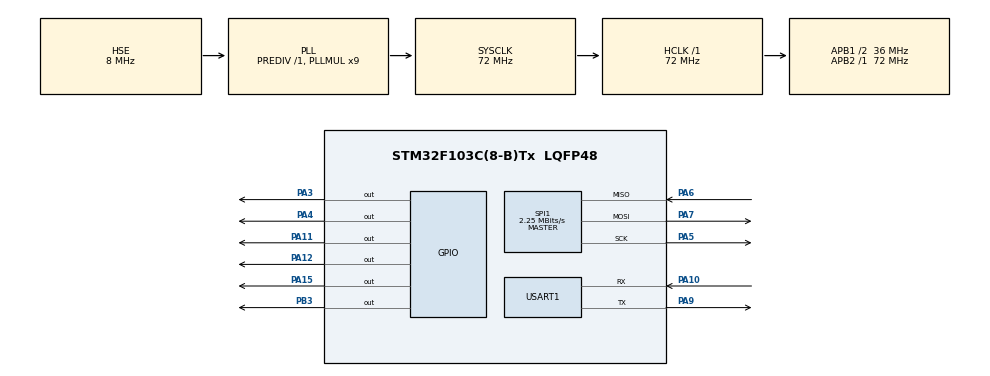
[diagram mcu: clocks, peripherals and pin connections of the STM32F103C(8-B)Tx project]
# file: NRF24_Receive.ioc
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Dma.Request0=USART1_RX
Dma.Request1=USART1_TX
Dma.USART1_RX.0.Direction=DMA_PERIPH_TO_MEMORY
Dma.USART1_RX.0.Instance=DMA1_Channel5
Dma.USART1_RX.0.MemDataAlignment=DMA_MDATAALIGN_BYTE
Dma.USART1_RX.0.MemInc=DMA_MINC_ENABLE
Dma.USART1_RX.0.Mode=DMA_NORMAL
Dma.USART1_RX.0.PeriphDataAlignment=DMA_PDATAALIGN_BYTE
Dma.USART1_RX.0.PeriphInc=DMA_PINC_DISABLE
Dma.USART1_RX.0.Priority=DMA_PRIORITY_LOW
Dma.USART1_TX.1.Direction=DMA_MEMORY_TO_PERIPH
Dma.USART1_TX.1.Instance=DMA1_Channel4
Dma.USART1_TX.1.MemDataAlignment=DMA_MDATAALIGN_BYTE
Dma.USART1_TX.1.MemInc=DMA_MINC_ENABLE
Dma.USART1_TX.1.Mode=DMA_NORMAL
Dma.USART1_TX.1.PeriphDataAlignment=DMA_PDATAALIGN_BYTE
Dma.USART1_TX.1.PeriphInc=DMA_PINC_DISABLE
Dma.USART1_TX.1.Priority=DMA_PRIORITY_LOW
Mcu.Family=STM32F1
Mcu.Name=STM32F103C(8-B)Tx
Mcu.Package=LQFP48
NVIC.DMA1_Channel4_IRQn=true\:0\:0\:false\:false\:true\:false\:true\:true
NVIC.DMA1_Channel5_IRQn=true\:0\:0\:false\:false\:true\:false\:true\:true
NVIC.PriorityGroup=NVIC_PRIORITYGROUP_4
NVIC.USART1_IRQn=true\:0\:0\:false\:false\:true\:true\:true\:true
PA10.Mode=Asynchronous
PA10.Signal=USART1_RX
PA11.GPIO_PuPd=GPIO_PULLDOWN
PA11.Signal=GPIO_Output
PA12.GPIO_PuPd=GPIO_PULLDOWN
PA12.Signal=GPIO_Output
PA13.Mode=Serial_Wire
PA13.Signal=SYS_JTMS-SWDIO
PA14.Mode=Serial_Wire
PA14.Signal=SYS_JTCK-SWCLK
PA15.GPIO_PuPd=GPIO_PULLDOWN
PA15.Signal=GPIO_Output
PA3.Signal=GPIO_Output
PA4.Signal=GPIO_Output
PA5.Mode=Full_Duplex_Master
PA5.Signal=SPI1_SCK
PA6.Mode=Full_Duplex_Master
PA6.Signal=SPI1_MISO
PA7.Mode=Full_Duplex_Master
PA7.Signal=SPI1_MOSI
PA9.Mode=Asynchronous
PA9.Signal=USART1_TX
PB3.GPIO_PuPd=GPIO_PULLDOWN
PB3.Signal=GPIO_Output
PD0-OSC_IN.Mode=HSE-External-Oscillator
PD0-OSC_IN.Signal=RCC_OSC_IN
PD1-OSC_OUT.Mode=HSE-External-Oscillator
PD1-OSC_OUT.Signal=RCC_OSC_OUT
ProjectManager.HeapSize=0x200
ProjectManager.StackSize=0x400
ProjectManager.TargetToolchain=MDK-ARM V5.32
RCC.AHBFreq_Value=72000000
RCC.APB1CLKDivider=RCC_HCLK_DIV2
RCC.APB1Freq_Value=36000000
RCC.APB1TimFreq_Value=72000000
RCC.APB2Freq_Value=72000000
RCC.APB2TimFreq_Value=72000000
RCC.HCLKFreq_Value=72000000
RCC.PLLMUL=RCC_PLL_MUL9
RCC.PLLSourceVirtual=RCC_PLLSOURCE_HSE
RCC.SYSCLKFreq_VALUE=72000000
RCC.SYSCLKSource=RCC_SYSCLKSOURCE_PLLCLK
RCC.USBFreq_Value=72000000
SPI1.BaudRatePrescaler=SPI_BAUDRATEPRESCALER_32
SPI1.CalculateBaudRate=2.25 MBits/s
SPI1.Direction=SPI_DIRECTION_2LINES
SPI1.Mode=SPI_MODE_MASTER
SPI1.VirtualType=VM_MASTER
USART1.VirtualMode=VM_ASYNC
board=custom

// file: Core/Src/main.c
/* USER CODE BEGIN Header */
/**
  ******************************************************************************
  * @file           : main.c
  * @brief          : Main program body
  ******************************************************************************
  * @attention
  *
  * Copyright (c) 2025 STMicroelectronics.
  * All rights reserved.
  *
  * This software is licensed under terms that can be found in the LICENSE file
  * in the root directory of this software component.
  * If no LICENSE file comes with this software, it is provided AS-IS.
  *
  ******************************************************************************
  */
/* USER CODE END Header */
#include "main.h"

/* USER CODE BEGIN Includes */
#include "MY_NRF24.h"
/* USER CODE END Includes */

SPI_HandleTypeDef hspi1;

UART_HandleTypeDef huart1;
DMA_HandleTypeDef hdma_usart1_rx;
DMA_HandleTypeDef hdma_usart1_tx;

void SystemClock_Config(void);
static void MX_GPIO_Init(void);
static void MX_DMA_Init(void);
static void MX_SPI1_Init(void);
static void MX_USART1_UART_Init(void);

/* USER CODE BEGIN 0 */

char PAKET[4],RXPAKET[4];
uint8_t PACKAGECOUNTER;
uint8_t LASTPACKAGECOUNT;
bool SEND,REC,OK;
uint64_t TxpipeAddrs = 0xC2C2C2C2C2LL;
uint64_t RxpipeAddrs = 0xF0F0F0F0E1LL;

int count = 0;
uint8_t txData[4];

void HAL_UART_TxCpltCallback(UART_HandleTypeDef *huart) {
    if (huart->Instance == USART1) {
			count ++;
//			HAL_UART_Transmit_DMA(&huart1, txData, 4);
    }
}

uint32_t lastDataTime = 0;

/* USER CODE END 0 */

int main(void)
{

  /* MCU Configuration--------------------------------------------------------*/

  /* Reset of all peripherals, Initializes the Flash interface and the Systick. */
  HAL_Init();

  /* Configure the system clock */
  SystemClock_Config();

  /* Initialize all configured peripherals */
  MX_GPIO_Init();
  MX_DMA_Init();
  MX_SPI1_Init();
  MX_USART1_UART_Init();
  /* USER CODE BEGIN 2 */

	NRF24_begin(GPIOA, GPIO_PIN_4, GPIO_PIN_3, hspi1);
  NRF24_setChannel(120);
  NRF24_setPayloadSize(4);
  NRF24_setAutoAck(false);
  NRF24_openReadingPipe(1, RxpipeAddrs);
  NRF24_startListening();

  /* USER CODE END 2 */

  /* Infinite loop */
  while (1)
  {
		if (NRF24_available()) {
			REC = NRF24_read(RXPAKET, sizeof(RXPAKET));
			if (RXPAKET[0]) {
				HAL_GPIO_WritePin(GPIOA, GPIO_PIN_11, GPIO_PIN_SET);
			} if (RXPAKET[1]) {
				HAL_GPIO_WritePin(GPIOA, GPIO_PIN_12, GPIO_PIN_SET);
			} if (RXPAKET[2]) {
				HAL_GPIO_WritePin(GPIOA, GPIO_PIN_15, GPIO_PIN_SET);
			} if (RXPAKET[3]) {
				HAL_GPIO_WritePin(GPIOB, GPIO_PIN_3, GPIO_PIN_SET);
			}
			lastDataTime = HAL_GetTick(); // Update the last data reception time
		} else {
			if (HAL_GetTick() - lastDataTime > 300) { // 300 ms timeout, adjust as needed
				for (int i = 0; i < sizeof(RXPAKET); i++) {
					RXPAKET[i] = 0;
					HAL_GPIO_WritePin(GPIOA, GPIO_PIN_11, GPIO_PIN_RESET);
					HAL_GPIO_WritePin(GPIOA, GPIO_PIN_12, GPIO_PIN_RESET);
					HAL_GPIO_WritePin(GPIOA, GPIO_PIN_15, GPIO_PIN_RESET);
					HAL_GPIO_WritePin(GPIOB, GPIO_PIN_3, GPIO_PIN_RESET);
				}
			}
		}

		txData[0] = RXPAKET[0];
		txData[1] = RXPAKET[1];
		txData[2] = RXPAKET[2];
		txData[3] = RXPAKET[3];
		HAL_UART_Transmit_DMA(&huart1, txData, 4);

		HAL_Delay(20);

  }
}

void SystemClock_Config(void)
{
  RCC_OscInitTypeDef RCC_OscInitStruct = {0};
  RCC_ClkInitTypeDef RCC_ClkInitStruct = {0};

  /** Initializes the RCC Oscillators according to the specified parameters
  * in the RCC_OscInitTypeDef structure.
  */
  RCC_OscInitStruct.OscillatorType = RCC_OSCILLATORTYPE_HSE;
  RCC_OscInitStruct.HSEState = RCC_HSE_ON;
  RCC_OscInitStruct.HSEPredivValue = RCC_HSE_PREDIV_DIV1;
  RCC_OscInitStruct.HSIState = RCC_HSI_ON;
  RCC_OscInitStruct.PLL.PLLState = RCC_PLL_ON;
  RCC_OscInitStruct.PLL.PLLSource = RCC_PLLSOURCE_HSE;
  RCC_OscInitStruct.PLL.PLLMUL = RCC_PLL_MUL9;
  if (HAL_RCC_OscConfig(&RCC_OscInitStruct) != HAL_OK)
  {
    Error_Handler();
  }

  /** Initializes the CPU, AHB and APB buses clocks
  */
  RCC_ClkInitStruct.ClockType = RCC_CLOCKTYPE_HCLK|RCC_CLOCKTYPE_SYSCLK
                              |RCC_CLOCKTYPE_PCLK1|RCC_CLOCKTYPE_PCLK2;
  RCC_ClkInitStruct.SYSCLKSource = RCC_SYSCLKSOURCE_PLLCLK;
  RCC_ClkInitStruct.AHBCLKDivider = RCC_SYSCLK_DIV1;
  RCC_ClkInitStruct.APB1CLKDivider = RCC_HCLK_DIV2;
  RCC_ClkInitStruct.APB2CLKDivider = RCC_HCLK_DIV1;

  if (HAL_RCC_ClockConfig(&RCC_ClkInitStruct, FLASH_LATENCY_2) != HAL_OK)
  {
    Error_Handler();
  }
}

static void MX_SPI1_Init(void)
{

  /* SPI1 parameter configuration*/
  hspi1.Instance = SPI1;
  hspi1.Init.Mode = SPI_MODE_MASTER;
  hspi1.Init.Direction = SPI_DIRECTION_2LINES;
  hspi1.Init.DataSize = SPI_DATASIZE_8BIT;
  hspi1.Init.CLKPolarity = SPI_POLARITY_LOW;
  hspi1.Init.CLKPhase = SPI_PHASE_1EDGE;
  hspi1.Init.NSS = SPI_NSS_SOFT;
  hspi1.Init.BaudRatePrescaler = SPI_BAUDRATEPRESCALER_32;
  hspi1.Init.FirstBit = SPI_FIRSTBIT_MSB;
  hspi1.Init.TIMode = SPI_TIMODE_DISABLE;
  hspi1.Init.CRCCalculation = SPI_CRCCALCULATION_DISABLE;
  hspi1.Init.CRCPolynomial = 10;
  if (HAL_SPI_Init(&hspi1) != HAL_OK)
  {
    Error_Handler();
  }

}

static void MX_USART1_UART_Init(void)
{

  huart1.Instance = USART1;
  huart1.Init.BaudRate = 115200;
  huart1.Init.WordLength = UART_WORDLENGTH_8B;
  huart1.Init.StopBits = UART_STOPBITS_1;
  huart1.Init.Parity = UART_PARITY_NONE;
  huart1.Init.Mode = UART_MODE_TX_RX;
  huart1.Init.HwFlowCtl = UART_HWCONTROL_NONE;
  huart1.Init.OverSampling = UART_OVERSAMPLING_16;
  if (HAL_UART_Init(&huart1) != HAL_OK)
  {
    Error_Handler();
  }

}

static void MX_DMA_Init(void)
{

  /* DMA controller clock enable */
  __HAL_RCC_DMA1_CLK_ENABLE();

  /* DMA interrupt init */
  /* DMA1_Channel4_IRQn interrupt configuration */
  HAL_NVIC_SetPriority(DMA1_Channel4_IRQn, 0, 0);
  HAL_NVIC_EnableIRQ(DMA1_Channel4_IRQn);
  /* DMA1_Channel5_IRQn interrupt configuration */
  HAL_NVIC_SetPriority(DMA1_Channel5_IRQn, 0, 0);
  HAL_NVIC_EnableIRQ(DMA1_Channel5_IRQn);

}

static void MX_GPIO_Init(void)
{
  GPIO_InitTypeDef GPIO_InitStruct = {0};

  /* GPIO Ports Clock Enable */
  __HAL_RCC_GPIOD_CLK_ENABLE();
  __HAL_RCC_GPIOA_CLK_ENABLE();
  __HAL_RCC_GPIOB_CLK_ENABLE();

  /*Configure GPIO pin Output Level */
  HAL_GPIO_WritePin(GPIOA, GPIO_PIN_3|GPIO_PIN_4|GPIO_PIN_11|GPIO_PIN_12
                          |GPIO_PIN_15, GPIO_PIN_RESET);

  /*Configure GPIO pin Output Level */
  HAL_GPIO_WritePin(GPIOB, GPIO_PIN_3, GPIO_PIN_RESET);

  /*Configure GPIO pins : PA3 PA4 */
  GPIO_InitStruct.Pin = GPIO_PIN_3|GPIO_PIN_4;
  GPIO_InitStruct.Mode = GPIO_MODE_OUTPUT_PP;
  GPIO_InitStruct.Pull = GPIO_NOPULL;
  GPIO_InitStruct.Speed = GPIO_SPEED_FREQ_LOW;
  HAL_GPIO_Init(GPIOA, &GPIO_InitStruct);

  /*Configure GPIO pins : PA11 PA12 PA15 */
  GPIO_InitStruct.Pin = GPIO_PIN_11|GPIO_PIN_12|GPIO_PIN_15;
  GPIO_InitStruct.Mode = GPIO_MODE_OUTPUT_PP;
  GPIO_InitStruct.Pull = GPIO_PULLDOWN;
  GPIO_InitStruct.Speed = GPIO_SPEED_FREQ_LOW;
  HAL_GPIO_Init(GPIOA, &GPIO_InitStruct);

  /*Configure GPIO pin : PB3 */
  GPIO_InitStruct.Pin = GPIO_PIN_3;
  GPIO_InitStruct.Mode = GPIO_MODE_OUTPUT_PP;
  GPIO_InitStruct.Pull = GPIO_PULLDOWN;
  GPIO_InitStruct.Speed = GPIO_SPEED_FREQ_LOW;
  HAL_GPIO_Init(GPIOB, &GPIO_InitStruct);

}

void Error_Handler(void)
{
  __disable_irq();
  while (1)
  {
  }
}
